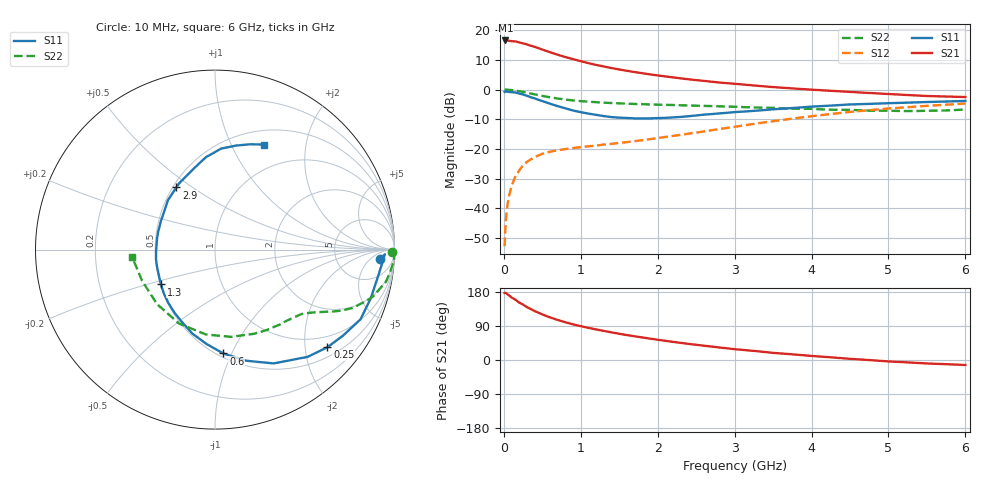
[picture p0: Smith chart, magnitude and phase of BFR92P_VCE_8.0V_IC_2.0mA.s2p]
! Infineon Technologies  Discrete & RF Semiconductors
! BFR92P
! VCE =  8.0 V,  IC =  2.0 mA
! Common Emitter S-Parameters:  Apr 2014
# GHz  S  MA  R  50
!  f  S11  S21  S12  S22
! GHz  MAG  ANG  MAG  ANG  MAG  ANG  MAG  ANG
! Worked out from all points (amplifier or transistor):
!   77 points, 10 MHz to 6 GHz, reference 50 ohm
!   highest |S21| = 16.6 dB at 20 MHz (marker M1)
!   |S21| within 3 dB of that: start of sweep to 493.7 MHz
!   unconditionally stable (mu >= 1): 1.382 GHz to 2.914 GHz
!   at 130 MHz: K = 0.12, MSG = 23.4 dB, |S12| = -30.5 dB
!   at 2.2 GHz: K = 1.09, MAG = 8.0 dB, |S12| = -15.6 dB
!   at 6 GHz: K = 0.87, MSG = 1.1 dB, |S12| = -4.7 dB
!   S11 on the Smith chart (normalised r, x): 10 MHz: 16, -11; 250 MHz: 0.72, -2.50; 600 MHz: 0.53, -0.93; 1.3 GHz: 0.50, -0.22; 2.9 GHz: 0.52, +0.43; 6 GHz: 0.67, +1.35
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0.01  0.919 -3.4  6.654 177.0  0.0023 91.1  0.9861 -0.9
0.02  0.9469 -1.6  6.759 177.3  0.0048 86.5  1 -1.4
0.06  0.9179 -10.4  6.707 171.5  0.0143 83.8  0.9954 -4.2
0.1  0.9092 -17.5  6.564 165.1  0.0231 80.2  0.9843 -7.2
0.15  0.8989 -25.6  6.515 159.3  0.0342 75.8  0.9698 -10.6
0.2  0.8598 -33.8  6.261 151.5  0.0436 70.9  0.9416 -13.6
0.25  0.8295 -41.0  6.033 146.2  0.053 68.1  0.92 -16.4
0.3  0.7896 -49.2  5.799 139.4  0.0607 63.4  0.8876 -18.9
0.4  0.7135 -62.7  5.274 129.1  0.0729 57.6  0.8346 -22.9
0.5  0.6435 -74.2  4.755 120.3  0.0829 53.7  0.7855 -25.6
0.6  0.5805 -85.4  4.281 112.4  0.0899 50.6  0.744 -27.6
0.8  0.485 -105.0  3.548 99.5  0.0996 46.9  0.6816 -30.7
0.9  0.4454 -114.0  3.27 94.0  0.1037 46.6  0.6591 -32.0
1.1  0.3952 -131.1  2.803 84.8  0.1112 46.2  0.6286 -34.2
1.3  0.3585 -147.2  2.46 76.7  0.1188 47.3  0.6037 -36.4
1.6  0.3333 -170.4  2.081 65.8  0.1303 49.7  0.5809 -40.3
2.1  0.3348 157.3  1.673 50.7  0.1595 54.0  0.5551 -47.6
2.9  0.4078 121.9  1.288 30.9  0.2264 56.2  0.5196 -63.2
3.1  0.4263 115.7  1.225 26.8  0.2477 55.3  0.5092 -68.3
4.1  0.5259 93.6  0.983 9.3  0.3691 47.5  0.4678 -99.8
5.1  0.5967 76.9  0.832 -4.8  0.4913 33.3  0.4388 -140.7
6  0.646 64.9  0.752 -13.1  0.5846 19.3  0.4642 -175.2
